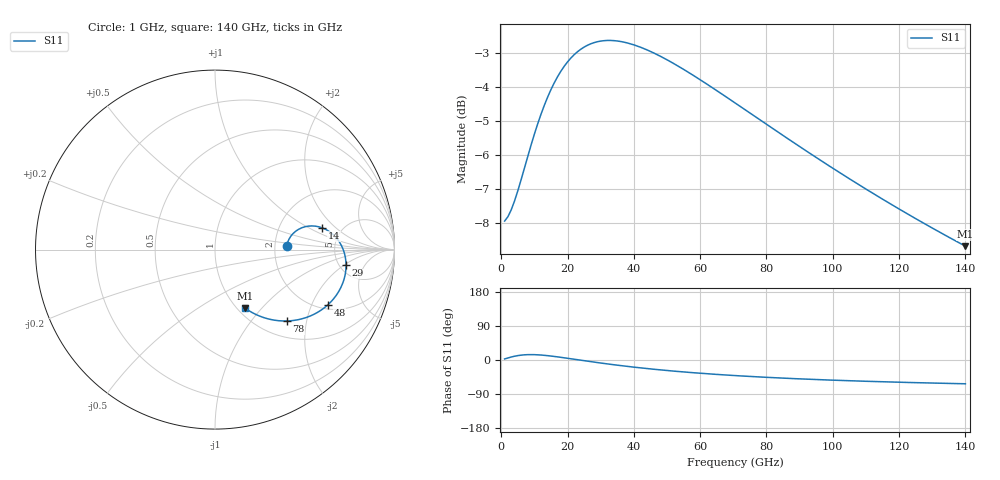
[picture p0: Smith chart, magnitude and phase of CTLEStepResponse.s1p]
! File created by SignalIntegrity v1.1.14: Signal and Power Integrity Tools
! https://github.com/TeledyneLeCroy/SignalIntegrity
# MHz S MA R 50.0
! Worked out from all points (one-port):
!   140 points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, 1 GHz to 140 GHz, reference 50 ohm
!   lowest |S11| = -8.7 dB at 140 GHz (marker M1), VSWR 2.16, Z = 54.2 - j40.9 ohm
!   |S11| at or under -10 dB: nowhere
!   S11 on the Smith chart (normalised r, x): 1 GHz: 2.33, +0.11; 14 GHz: 3.56, +1.37; 29 GHz: 5.71, -2.16; 48 GHz: 2.19, -2.64; 78 GHz: 1.32, -1.54; 140 GHz: 1.08, -0.82
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1000  0.4001 2.8
2000  0.4061 5.5
4000  0.4284 9.9
6000  0.4609 12.8
8000  0.4986 14.1
9000  0.5182 14.2
11000  0.5568 13.7
14000  0.6096 11.5
16000  0.6398 9.4
19000  0.6767 5.8
21000  0.6957 3.3
24000  0.7168 -0.6
26000  0.7265 -3.1
29000  0.7352 -6.8
32000  0.7384 -10.3
36000  0.7358 -14.8
42000  0.7216 -20.8
48000  0.6998 -26.1
54000  0.6739 -30.8
58000  0.6556 -33.6
62000  0.6369 -36.2
71000  0.5952 -41.4
78000  0.5642 -44.8
88000  0.5229 -49.0
97000  0.4892 -52.3
106000  0.4586 -55.0
123000  0.4087 -59.3
140000  0.3675 -62.8
